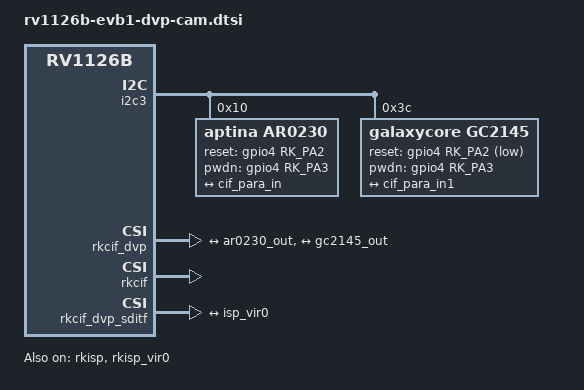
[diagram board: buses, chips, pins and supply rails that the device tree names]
// SPDX-License-Identifier: (GPL-2.0+ OR MIT)
/*
 * Copyright (c) 2025 Rockchip Electronics Co., Ltd.
 *
 */

&i2c3 {
	pinctrl-names = "default";
	pinctrl-0 = <&i2c3m1_pins>;
	status = "okay";

	ar0230: ar0230@10 {
		compatible = "aptina,ar0230";
		reg = <0x10>;
		status = "okay";
		clocks = <&cru CLK_CIF_OUT2IO>;
		clock-names = "xvclk";
		reset-gpios = <&gpio4 RK_PA2 GPIO_ACTIVE_HIGH>;
		pwdn-gpios = <&gpio4 RK_PA3 GPIO_ACTIVE_HIGH>;
		rockchip,camera-module-index = <0>;
		rockchip,camera-module-facing = "back";
		rockchip,camera-module-name = "CMK-OT0836-PT2";
		rockchip,camera-module-lens-name = "YT-2929";
		port {
			ar0230_out: endpoint {
				remote-endpoint = <&cif_para_in>;
			};
		};
	};

	gc2145: gc2145@3c {
		status = "okay";
		compatible = "galaxycore,gc2145";
		reg = <0x3c>;
		clocks = <&cru CLK_CIF_OUT2IO>;
		clock-names = "xvclk";
		reset-gpios = <&gpio4 RK_PA2 GPIO_ACTIVE_LOW>;
		pwdn-gpios = <&gpio4 RK_PA3 GPIO_ACTIVE_HIGH>;
		rockchip,camera-module-index = <0>;
		rockchip,camera-module-facing = "back";
		rockchip,camera-module-name = "CameraKing";
		rockchip,camera-module-lens-name = "Largan";
		port {
			gc2145_out: endpoint {
				remote-endpoint = <&cif_para_in1>;
			};
		};
	};
};

&rkcif_dvp {
	status = "okay";

	/* configure according to pinctrl */
	cif-pins-group = <0>;

	pinctrl-names = "default";
	pinctrl-0 = <&vi_cifm0_pins>;
	port {
		/* Parallel bus endpoint */
		cif_para_in: endpoint@1 {
			reg = <1>;
			remote-endpoint = <&ar0230_out>;
		};

		cif_para_in1: endpoint@2 {
			reg = <2>;
			remote-endpoint = <&gc2145_out>;
		};
	};
};

&rkcif {
	status = "okay";
};

&rkcif_mmu {
	status = "okay";
};

&rkcif_dvp_sditf {
	status = "okay";

	port {
		dvp_sditf: endpoint {
			remote-endpoint = <&isp_vir0>;
		};
	};
};

&rkisp {
	status = "okay";
};

&rkisp_mmu {
	status = "okay";
};

&rkisp_vir0 {
	status = "okay";

	port {
		#address-cells = <1>;
		#size-cells = <0>;

		isp_vir0: endpoint@0 {
			reg = <0>;
			remote-endpoint = <&dvp_sditf>;
		};
	};
};
